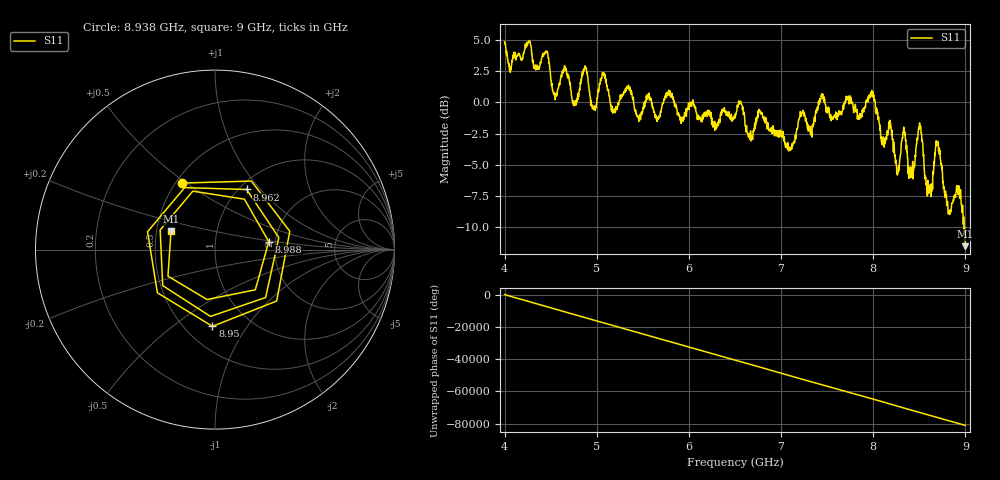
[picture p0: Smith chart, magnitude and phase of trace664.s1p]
! Created with skrf 1.8.0 (http://scikit-rf.org).
# Hz S RI R 50.0
!freq ReS11 ImS11
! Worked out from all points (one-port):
!   1601 points, 4 GHz to 9 GHz, reference 50 ohm
!   lowest |S11| = -11.5 dB at 9 GHz (marker M1), VSWR 1.72, Z = 29.8 + j6.57 ohm
!   |S11| at or under -10 dB: 8.985586 GHz to 8.990786 GHz (5.2 MHz wide, 0.0579 % of centre); 8.991084 GHz to end of sweep
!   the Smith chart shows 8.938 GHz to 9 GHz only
!   S11 on the Smith chart (normalised r, x): 8.938 GHz: 0.54, +0.48; 8.95 GHz: 0.67, -0.71; 8.962 GHz: 1.08, +0.85; 8.988 GHz: 1.84, +0.18; 9 GHz: 0.60, +0.13
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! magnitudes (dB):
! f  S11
! 4 GHz  4.9
! 4.453 GHz  4.1
! 4.544 GHz  0.7
! 4.625 GHz  2.5
! 4.759 GHz  0.0
! 4.869 GHz  2.7
! 4.966 GHz  -0.5
! 5.066 GHz  2.3
! 5.25 GHz  0.2
! 5.875 GHz  -1.0
! 6.5 GHz  -1.1
! 7.125 GHz  -3.5
! 7.434 GHz  0.5
! 7.75 GHz  0.5
! 7.994 GHz  0.9
! 8.106 GHz  -3.2
! 8.331 GHz  -2.0
! 8.375 GHz  -4.5
! 8.428 GHz  -4.7
! 8.509 GHz  -2.0
! 8.591 GHz  -6.2
! 8.7 GHz  -3.1
! 8.822 GHz  -8.7
! 8.938 GHz  -7.7
! 8.95 GHz  -7.4
! 8.962 GHz  -8.4
! 8.988 GHz  -10.4
! 9 GHz  -11.5
